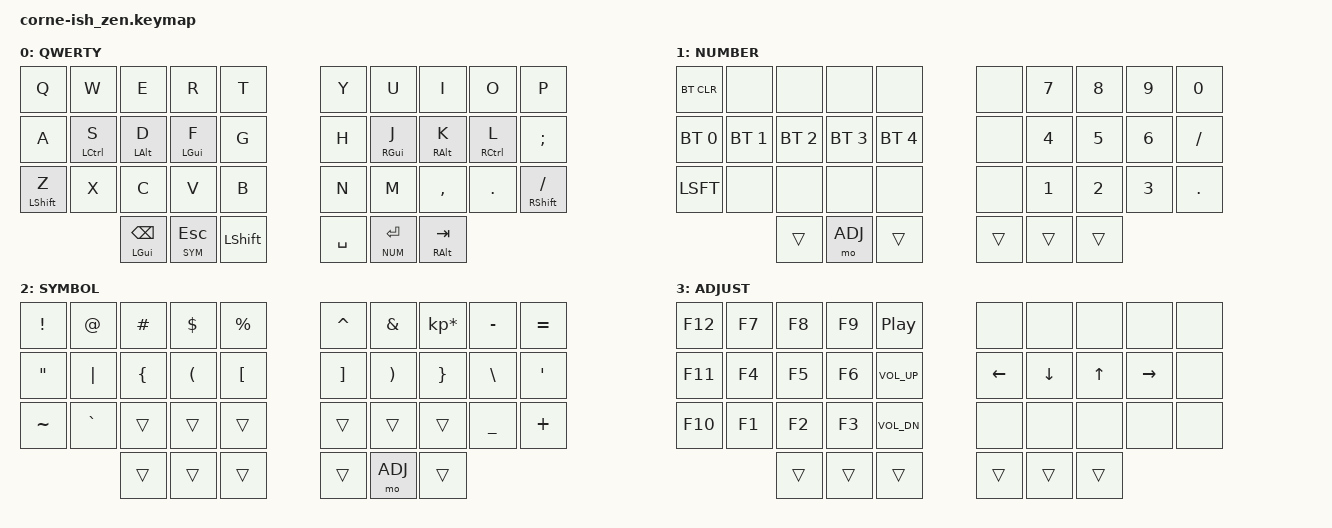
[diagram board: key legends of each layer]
/*
*
* Copyright (c) 2021 Darryl deHaan
* SPDX-License-Identifier: MIT
*
*/

#include <behaviors.dtsi>
#include <dt-bindings/zmk/keys.h>
#include <dt-bindings/zmk/bt.h>

#define DEFAULT 0
#define NUM 1
#define SYM 2
#define ADJ 3

&lt {
    tapping-term-ms = <100>;
};

&kscan0 {
    debounce-press-ms = <6>;
    debounce-release-ms = <6>;
};



/ {
        chosen {
            zmk,matrix_transform = &five_column_transform;
        };

        behaviors {
            hm: hm {
                compatible = "zmk,behavior-hold-tap";
                label = "HOMEROW_MODS";
                #binding-cells = <2>;
                tapping-term-ms = <200>;
                quick-tap-ms = <200>;
                flavor = "tap-preferred";
                bindings = <&kp>, <&kp>;
            };

            tm: tm {
                compatible = "zmk,behavior-hold-tap";
                label = "THUMB_MODS";
                #binding-cells = <2>;
                tapping-term-ms = <100>;
                quick-tap-ms = <200>;
                flavor = "hold-preferred";
                bindings = <&kp>, <&kp>;
            };
        };


        keymap {
                compatible = "zmk,keymap";

                default_layer {
                        label = "QWERTY";
// -----------------------------------------------------------------------------------------
// |  Q  |  W  |  E  |  R  |  T   |   |  Y  |  U   |  I  |  O  |  P  |
// |  A  |  S  |  D  |  F  |  G   |   |  H  |  J   |  K  |  L  |  ;  |
// |  Z  |  X  |  C  |  V  |  B   |   |  N  |  M   |  ,  |  .  |  /  |
//             | GUI | SYM | SHFT |   | SPC | NUM  | ALT |
                        bindings = <
   &kp Q       &kp W       &kp E         &kp R       &kp T        &kp Y     &kp U       &kp I        &kp O       &kp P
   &kp A       &hm LCTRL S &hm LALT D    &hm LGUI F  &kp G        &kp H     &hm RGUI J  &hm RALT K   &hm RCTRL L &kp SEMI
   &hm LSHFT Z &kp X       &kp C         &kp V       &kp B        &kp N     &kp M       &kp COMMA    &kp DOT     &hm RSHFT FSLH
                           &tm LGUI BSPC &lt SYM ESC &kp LSHFT    &kp SPACE &lt NUM RET &tm RALT TAB
                        >;
                };
                num_layer {
                        label = "NUMBER";
// -----------------------------------------------------------------------------------------
// |BTCLR|     |     |     |     |   |  7  |  8  |  9  |  0  |
// | BT1 | BT2 | BT3 | BT4 | BT5 |   |  4  |  5  |  6  |  /  |
// | SFT |     |     |     |     |   |  1  |  2  |  3  |  .  |
//             |     | ADJ |     |   |     |     |
                        bindings = <
   &bt BT_CLR   &none        &none        &none        &none             &none  &kp N7 &kp N8 &kp N9 &kp N0
   &bt BT_SEL 0 &bt BT_SEL 1 &bt BT_SEL 2 &bt BT_SEL 3 &bt BT_SEL 4      &none  &kp N4 &kp N5 &kp N6 &kp FSLH
   &kp LSFT     &none        &none        &none        &none             &none  &kp N1 &kp N2 &kp N3 &kp DOT
                             &trans       &mo ADJ      &trans            &trans &trans &trans
                        >;
                };

                sym_layer {
                        label = "SYMBOL";
// -----------------------------------------------------------------------------------------
// |  !  |  @  |  #  |  $  |  %  |   |  ^  |  &  |  *  |  -  |  =  |
// |  "  |  |  |  {  |  (  |  [  |   |  ]  |  )  |  }  |  \  |  '  |
// |  ~  |  `  |     |     |     |   |     |     |     |  _  |  +  |
//             |     |     |     |   |     | ADJ |     |
                        bindings = <
   &kp EXCL  &kp AT    &kp HASH &kp DLLR &kp PRCNT    &kp CARET &kp AMPS &kp KP_MULTIPLY &kp MINUS &kp EQUAL
   &kp DQT   &kp PIPE  &kp LBRC &kp LPAR &kp LBKT     &kp RBKT  &kp RPAR &kp RBRC        &kp BSLH  &kp SQT
   &kp TILDE &kp GRAVE &trans   &trans   &trans       &trans    &trans   &trans          &kp UNDER &kp PLUS
                       &trans   &trans   &trans       &trans    &mo ADJ  &trans
                        >;
                };

                adj_layer {
                        label = "ADJUST";
                        bindings = <
   &kp F12 &kp F7 &kp F8 &kp F9 &kp C_PP          &none    &none    &none  &none     &none
   &kp F11 &kp F4 &kp F5 &kp F6 &kp C_VOL_UP      &kp LEFT &kp DOWN &kp UP &kp RIGHT &none
   &kp F10 &kp F1 &kp F2 &kp F3 &kp C_VOL_DN      &none    &none    &none  &none     &none
                  &trans &trans &trans            &trans   &trans   &trans
                        >;
                };
        };

};
